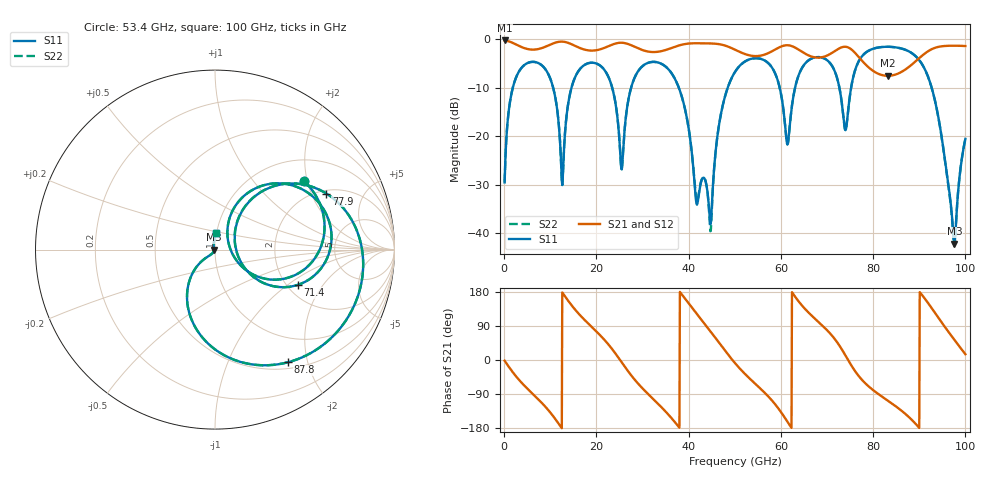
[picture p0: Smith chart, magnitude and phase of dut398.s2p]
! Touchstone file exported from HFSS 2026.1.0
!  File:  C:/ffzhzh/LocalFiles/Ansys_Project_Files/temp_train_TSV_RDL_398_1783720495_44652.aedt
!  Generated:  06:18:14 AM Jul 11, 2026
!  Design:  TSV_RDL
!  Project:  temp_train_TSV_RDL_398_1783720495_44652
! Variables:
!  h_bsmrdl = 3.63um
!  h_ox = 20um
!  h_rdl = 5um
!  h_sub = 52.24um
!  h_tmrdl = 3.53um
!  h_tsv = 52.24um
!  h_via = 3um
!  l_bsmrdl = 628um
!  l_sub = 5164.5um
!  l_tmrdl = 693.41um
!  m_sub = 200um
!  pitch = 45.5um
!  r_tsv = 7.5um
!  s_tmrdl = 10um
!  w_bsmrdl = 13.74um
!  w_sub = 500um
!  w_tmrdl = 21.88um
!  x_tsv_center1 = 704.35um
!  x_tsv_center2 = 1346.09um
!  x_tsv_center3 = 2061.38um
!  x_tsv_center4 = 2703.12um
!  x_tsv_center5 = 3418.41um
!  x_tsv_center6 = 4060.15um
# GHz S MA R 50.000000
! Terminal data exported
! Port[1] = TM_RDL1_1_T1
! Port[2] = TM_RDL5_1_T1
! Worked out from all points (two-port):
!   1000 points, 100 MHz to 100 GHz, reference 50 ohm
!   highest |S21| = -0.24 dB at 100 MHz (marker M1); lowest = -7.5 dB at 83.2 GHz (marker M2)
!   |S21| within 3 dB of the highest: start of sweep to 52.88 GHz; 56.19 GHz to 65.81 GHz (9.623 GHz wide, 15.8 % of centre) (the widest 2 of 4)
!   lowest |S11| = -42.2 dB at 97.6 GHz (marker M3), VSWR 1.02, Z = 49.2 - j0.00931 ohm
!   |S11| at or under -10 dB: 23.43 GHz to 27.52 GHz (4.09 GHz wide, 16.1 % of centre); 37.88 GHz to 48.46 GHz (10.59 GHz wide, 24.5 % of centre); 92.69 GHz to end of sweep (the widest 3 of 7)
!   |S22| runs from -42.7 to -1.5 dB; largest |S21 - S12| = 9.6e-12
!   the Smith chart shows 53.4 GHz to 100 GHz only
!   S11 on the Smith chart (normalised r, x): 53.4 GHz: 1.53, +1.92; 71.4 GHz: 2.27, -1.19; 77.9 GHz: 2.14, +2.59; 87.8 GHz: 0.59, -1.69; 100 GHz: 1.00, +0.19
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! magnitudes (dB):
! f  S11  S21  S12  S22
! 100 MHz  -29.5  -0.2  -0.2  -29.5
! 3.7 GHz  -6.0  -1.6  -1.6  -6.0
! 9.7 GHz  -7.4  -1.2  -1.2  -7.4
! 12.6 GHz  -30.1  -0.5  -0.5  -30.0
! 16.8 GHz  -5.8  -1.9  -1.9  -5.8
! 22.5 GHz  -7.5  -1.5  -1.5  -7.5
! 25.5 GHz  -26.9  -0.7  -0.7  -26.8
! 33.4 GHz  -4.8  -2.6  -2.6  -4.8
! 44.6 GHz  -37.3  -0.9  -0.9  -38.3
! 50.1 GHz  -6.7  -2.2  -2.2  -6.7
! 53.4 GHz  -4.1  -3.4  -3.4  -4.1
! 61.4 GHz  -21.7  -1.2  -1.2  -21.7
! 66.7 GHz  -3.9  -3.6  -3.6  -3.9
! 71.4 GHz  -6.0  -2.6  -2.6  -6.0
! 74 GHz  -18.7  -1.5  -1.5  -18.8
! 77.9 GHz  -3.2  -4.7  -4.7  -3.2
! 83.2 GHz  -1.5  -7.5  -7.5  -1.5
! 83.4 GHz  -1.5  -7.5  -7.5  -1.5
! 87.8 GHz  -2.5  -5.7  -5.7  -2.5
! 93.1 GHz  -11.4  -1.9  -1.9  -11.4
! 97.6 GHz  -42.2  -1.3  -1.3  -42.7
! 100 GHz  -20.5  -1.4  -1.4  -20.5
